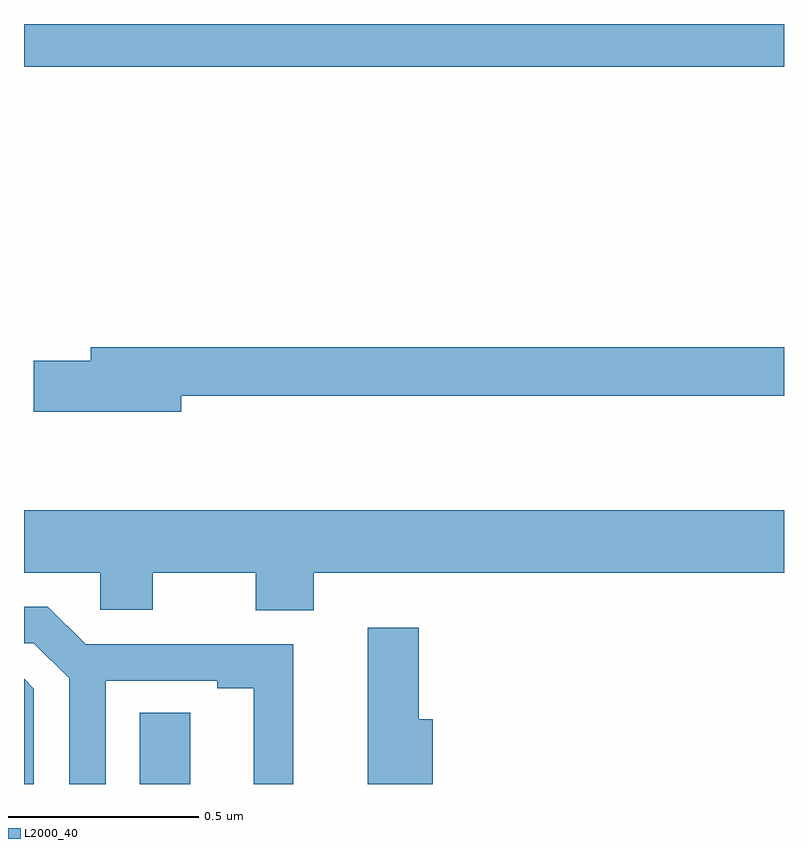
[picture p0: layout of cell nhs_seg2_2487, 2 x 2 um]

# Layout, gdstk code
import gdstk
lib = gdstk.Library(unit=1e-6, precision=1e-09)
def R(c, l, rs):  # rectangles x0, y0, x1, y1
    for r in rs: c.add(gdstk.rectangle(r[:2], r[2:], *l))
def P(c, l, *ps):  # polygons
    for p in ps: c.add(gdstk.Polygon(p, *l))
L2000_40 = (2000, 40)

nhs_seg2_2487 = lib.new_cell('nhs_seg2_2487')
R(nhs_seg2_2487, L2000_40, [(142.304,593.8,142.438,593.987), (142,595.688,144,595.8)])
P(nhs_seg2_2487, L2000_40, [(142.414,594.822),(144,594.822),(144,594.95),(142.175,594.95),(142.175,594.914),(142.026,594.914),(142.026,594.779),(142.414,594.779)],
  [(142.763,594.356),(144,594.356),(144,594.52),(142,594.52),(142,594.356),(142.2,594.356),(142.2,594.258),(142.339,594.258),(142.339,594.356),(142.61,594.356),(142.61,594.257),(142.763,594.257)],
  [(142.215,594.072),(142.508,594.072),(142.508,594.052),(142.604,594.052),(142.604,593.8),(142.708,593.8),(142.708,594.168),(142.162,594.168),(142.063,594.267),(142,594.267),(142,594.171),(142.026,594.171),(142.119,594.078),(142.119,593.8),(142.215,593.8)],
  [(143.075,593.97),(143.039,593.97),(143.039,594.211),(142.904,594.211),(142.904,593.8),(143.075,593.8)],
  [(142.026,594.051),(142,594.077),(142,593.8),(142.026,593.8)])

lib.write_gds('nhs_seg2_2487.gds')
